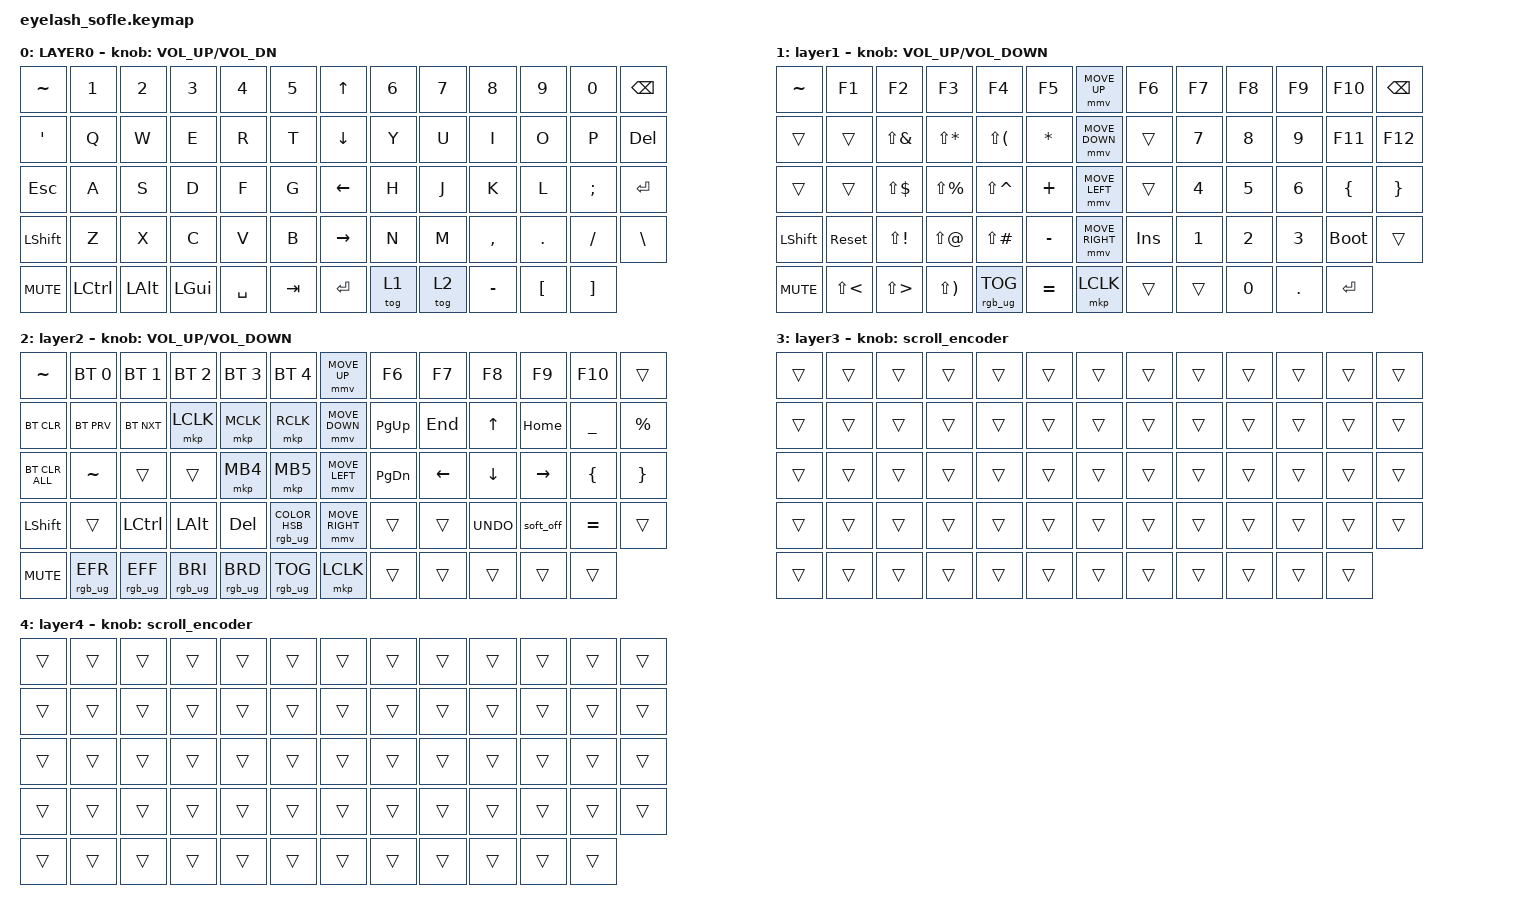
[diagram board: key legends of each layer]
#define ZMK_POINTING_DEFAULT_MOVE_VAL 1200  // 600
#define ZMK_POINTING_DEFAULT_SCRL_VAL 25   // 10

#include <input/processors.dtsi>
#include <zephyr/dt-bindings/input/input-event-codes.h>
#include <behaviors.dtsi>
#include <dt-bindings/zmk/bt.h>
#include <dt-bindings/zmk/keys.h>
#include <dt-bindings/zmk/pointing.h>
#include <dt-bindings/zmk/rgb.h>

&mmv_input_listener { input-processors = <&zip_xy_scaler 2 1>; };

&msc_input_listener { input-processors = <&zip_scroll_scaler 2 1>; };

&msc {
    acceleration-exponent = <1>;      // 0
    time-to-max-speed-ms = <100>;       // 300
    delay-ms = <0>;                   // 0
};

&mmv {
    time-to-max-speed-ms = <500>;
    acceleration-exponent = <1>;
    trigger-period-ms = <16>;
};

&soft_off { hold-time-ms = <2000>; };

/ {
    scroll_encoder: scroll_encoder {
        compatible = "zmk,behavior-sensor-rotate";
        #sensor-binding-cells = <0>;
        bindings = <&msc SCRL_DOWN>, <&msc SCRL_UP>;

        tap-ms = <100>;
    };

    behaviors {
    };

    combos {
        compatible = "zmk,combos";

        softoff {
            bindings = <&soft_off>;
            key-positions = <14 28 40>;
        };

        hold_num_layer {
            bindings = <&sl 1>;
            key-positions = <34 59>;
        };

        hold_sysm_layer {
            bindings = <&sl 2>;
            key-positions = <34 60>;
        };
    };

    macros {
        SHIFT_MCLK: SHIFT_MCLK {
            compatible = "zmk,behavior-macro";
            #binding-cells = <0>;
            bindings =
                <&macro_press>,
                <&kp LEFT_SHIFT>,
                <&macro_press>,
                <&mkp MB3>,
                <&macro_pause_for_release>,
                <&macro_release>,
                <&kp LEFT_SHIFT &mkp MB3>;

            label = "SHIFT_MCLK";
        };
    };

    keymap {
        compatible = "zmk,keymap";

        Main {
            bindings = <
&kp TILDE         &kp N1     &kp N2        &kp N3        &kp N4     &kp N5     &kp UP_ARROW     &kp N6  &kp N7  &kp N8     &kp N9            &kp N0             &kp BACKSPACE
&kp SINGLE_QUOTE  &kp Q      &kp W         &kp E         &kp R      &kp T      &kp DOWN_ARROW   &kp Y   &kp U   &kp I      &kp O             &kp P              &kp DELETE
&kp ESCAPE        &kp A      &kp S         &kp D         &kp F      &kp G      &kp LEFT_ARROW   &kp H   &kp J   &kp K      &kp L             &kp SEMI           &kp ENTER
&kp LSHFT         &kp Z      &kp X         &kp C         &kp V      &kp B      &kp RIGHT_ARROW  &kp N   &kp M   &kp COMMA  &kp DOT           &kp FSLH           &kp BACKSLASH
&kp C_MUTE        &kp LCTRL  &kp LEFT_ALT  &kp LEFT_GUI  &kp SPACE  &kp TAB    &kp ENTER        &tog 1  &tog 2  &kp MINUS  &kp LEFT_BRACKET  &kp RIGHT_BRACKET
            >;

            sensor-bindings = <&inc_dec_kp C_VOLUME_UP C_VOL_DN>;
            display-name = "LAYER0";
        };

        NumFn {
            bindings = <
&kp TILDE       &kp F1      &kp F2        &kp F3         &kp F4           &kp F5          &mmv MOVE_UP     &kp F6      &kp F7  &kp F8  &kp F9   &kp F10      &kp BSPC
&trans          &trans      &kp LS(AMPS)  &kp LS(STAR)   &kp LS(LPAR)     &kp ASTERISK    &mmv MOVE_DOWN   &trans      &kp N7  &kp N8  &kp N9   &kp F11      &kp F12
&trans          &trans      &kp LS(DLLR)  &kp LS(PRCNT)  &kp LS(CARET)    &kp PLUS        &mmv MOVE_LEFT   &trans      &kp N4  &kp N5  &kp N6   &kp LBRC     &kp RBRC
&kp LEFT_SHIFT  &sys_reset  &kp LS(EXCL)  &kp LS(AT)     &kp LS(POUND)    &kp MINUS       &mmv MOVE_RIGHT  &kp INSERT  &kp N1  &kp N2  &kp N3   &bootloader  &trans
&kp C_MUTE      &kp LS(LT)  &kp LS(GT)    &kp LS(RPAR)   &rgb_ug RGB_TOG  &kp EQUAL       &mkp LCLK        &trans      &trans  &kp N0  &kp DOT  &kp ENTER
            >;

            display-name = "layer1";
            sensor-bindings = <&inc_dec_kp C_VOLUME_UP C_VOLUME_DOWN>;
        };

        System {
            bindings = <
&kp TILDE       &bt BT_SEL 0     &bt BT_SEL 1      &bt BT_SEL 2     &bt BT_SEL 3     &bt BT_SEL 4                        &mmv MOVE_UP     &kp F6     &kp F7    &kp F8      &kp F9     &kp F10         &trans
&bt BT_CLR      &bt BT_PRV       &bt BT_NXT        &mkp LCLK        &mkp MCLK        &mkp RCLK                           &mmv MOVE_DOWN   &kp PG_UP  &kp END   &kp UP      &kp HOME   &kp UNDERSCORE  &kp PERCENT
&bt BT_CLR_ALL  &kp TILDE        &trans            &trans           &mkp MB4         &mkp MB5                            &mmv MOVE_LEFT   &kp PG_DN  &kp LEFT  &kp DOWN    &kp RIGHT  &kp LEFT_BRACE  &kp RIGHT_BRACE
&kp LEFT_SHIFT  &trans           &kp LEFT_CONTROL  &kp LEFT_ALT     &kp DELETE       &rgb_ug RGB_COLOR_HSB(288,58,58)    &mmv MOVE_RIGHT  &trans     &trans    &kp K_UNDO  &soft_off  &kp EQUAL       &trans
&kp C_MUTE      &rgb_ug RGB_EFR  &rgb_ug RGB_EFF   &rgb_ug RGB_BRI  &rgb_ug RGB_BRD  &rgb_ug RGB_TOG                     &mkp LCLK        &trans     &trans    &trans      &trans     &trans
            >;

            display-name = "layer2";
            sensor-bindings = <&inc_dec_kp C_VOLUME_UP C_VOLUME_DOWN>;
        };

        layer_3 {
            bindings = <
&trans  &trans  &trans  &trans  &trans  &trans    &trans  &trans  &trans  &trans  &trans  &trans  &trans
&trans  &trans  &trans  &trans  &trans  &trans    &trans  &trans  &trans  &trans  &trans  &trans  &trans
&trans  &trans  &trans  &trans  &trans  &trans    &trans  &trans  &trans  &trans  &trans  &trans  &trans
&trans  &trans  &trans  &trans  &trans  &trans    &trans  &trans  &trans  &trans  &trans  &trans  &trans
&trans  &trans  &trans  &trans  &trans  &trans    &trans  &trans  &trans  &trans  &trans  &trans
            >;

            display-name = "layer3";
            sensor-bindings = <&scroll_encoder>;
        };

        layer_4 {
            bindings = <
&trans  &trans  &trans  &trans  &trans  &trans    &trans  &trans  &trans  &trans  &trans  &trans  &trans
&trans  &trans  &trans  &trans  &trans  &trans    &trans  &trans  &trans  &trans  &trans  &trans  &trans
&trans  &trans  &trans  &trans  &trans  &trans    &trans  &trans  &trans  &trans  &trans  &trans  &trans
&trans  &trans  &trans  &trans  &trans  &trans    &trans  &trans  &trans  &trans  &trans  &trans  &trans
&trans  &trans  &trans  &trans  &trans  &trans    &trans  &trans  &trans  &trans  &trans  &trans
            >;

            display-name = "layer4";
            sensor-bindings = <&scroll_encoder>;
        };
    };
};
